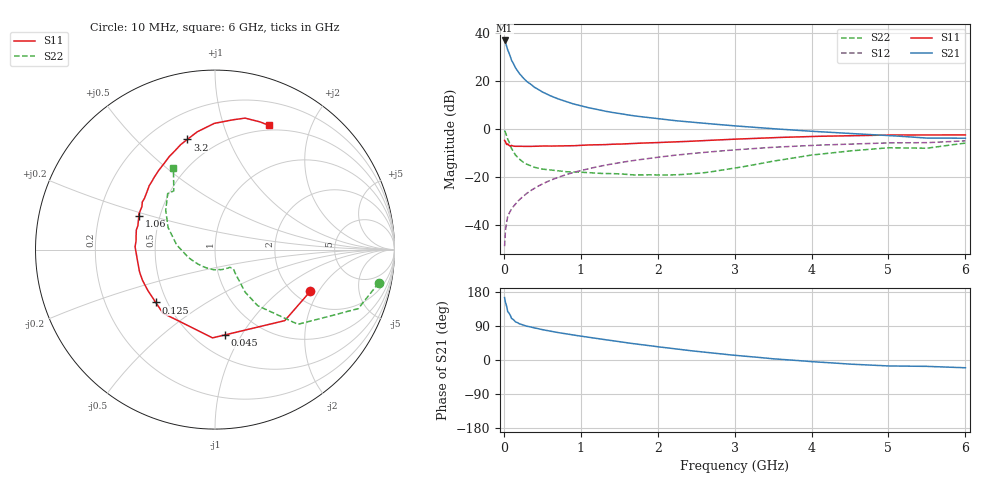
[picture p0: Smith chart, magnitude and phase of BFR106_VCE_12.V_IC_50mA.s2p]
! Infineon Technologies  Discrete & RF Semiconductors
! BFR106
! VCE =  12. V,  IC =  50 mA
! Common Emitter S-Parameters:  Nov 2015
# GHz  S  MA  R  50
!  f  S11  S21  S12  S22
! GHz  MAG  ANG  MAG  ANG  MAG  ANG  MAG  ANG
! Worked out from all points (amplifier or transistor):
!   210 points, 10 MHz to 6 GHz, reference 50 ohm
!   highest |S21| = 36.8 dB at 10 MHz (marker M1)
!   |S21| within 3 dB of that: start of sweep to 41.28 MHz
!   unconditionally stable (mu >= 1): 275.6 MHz to 2.355 GHz
!   at 185 MHz: K = 0.90, MSG = 26.9 dB, |S12| = -29.9 dB
!   at 1.52 GHz: K = 1.06, MAG = 8.6 dB, |S12| = -13.9 dB
!   at 6 GHz: K = 0.97, MSG = 0.6 dB, |S12| = -4.9 dB
!   S11 on the Smith chart (normalised r, x): 10 MHz: 2.43, -1.70; 45 MHz: 0.69, -0.85; 125 MHz: 0.43, -0.32; 1.06 GHz: 0.38, +0.18; 3.2 GHz: 0.35, +0.72; 6 GHz: 0.44, +1.43
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0.01  0.5798 -23.6  69 164.7  0.0037 81.3  0.9308 -11.5
0.02  0.5548 -45.5  63.61 152.8  0.0074 74.7  0.8634 -22.4
0.045  0.4788 -83.6  46.76 133.5  0.0139 62.2  0.6557 -37.8
0.05  0.492 -91.6  44.31 128.0  0.0152 61.0  0.622 -42.0
0.1  0.4578 -129.4  26.89 110.0  0.0219 59.9  0.3927 -52.7
0.125  0.4426 -138.3  22.73 106.3  0.0247 61.0  0.3411 -53.5
0.15  0.4386 -147.6  18.7 100.9  0.0276 61.8  0.2896 -54.7
0.2  0.4386 -156.8  14.34 95.8  0.0338 64.5  0.239 -52.9
0.24  0.4381 -162.3  12.09 92.7  0.0385 66.1  0.2107 -51.7
0.3  0.436 -168.3  9.673 89.1  0.0464 68.0  0.1859 -50.5
0.4  0.4384 -176.2  7.333 84.5  0.059 69.6  0.1603 -47.9
0.5  0.4455 178.1  5.889 80.1  0.0722 70.3  0.1475 -46.2
0.6  0.4425 173.8  4.939 76.2  0.0855 70.0  0.1416 -46.6
0.8  0.4517 166.0  3.739 69.3  0.1116 69.0  0.1302 -49.5
1.02  0.4596 157.8  2.979 62.3  0.1396 67.0  0.1265 -54.2
1.06  0.4636 156.4  2.877 61.1  0.1447 66.5  0.1253 -55.8
2.02  0.5252 130.4  1.621 34.5  0.2617 54.4  0.1111 -101.0
3.1  0.624 106.0  1.132 10.6  0.3786 39.4  0.1638 -169.4
3.2  0.6329 104.1  1.102 8.9  0.3881 37.9  0.1749 -174.8
4.1  0.7068 88.9  0.88 -5.5  0.4639 24.9  0.2995 151.8
5.1  0.7514 75.8  0.717 -15.9  0.5163 11.8  0.4066 129.2
6  0.7544 66.7  0.645 -20.5  0.5678 1.8  0.5097 117.0
